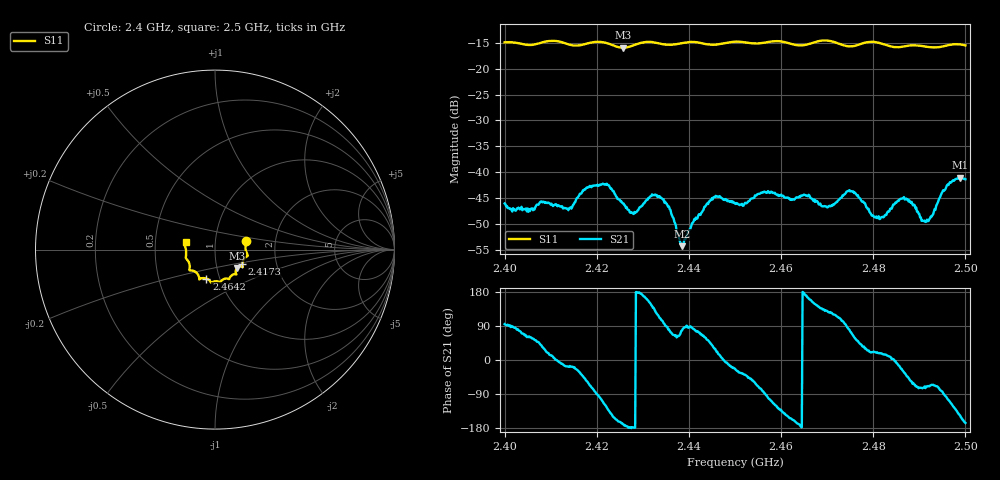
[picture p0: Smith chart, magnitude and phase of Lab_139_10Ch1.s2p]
# Hz S RI R 50
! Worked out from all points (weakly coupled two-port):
!   601 points, 2.4 GHz to 2.5 GHz, reference 50 ohm
!   highest |S21| = -41.10 dB at 2.4988 GHz (marker M1); lowest = -54.3 dB at 2.4385 GHz (marker M2)
!   lowest |S11| = -15.9 dB at 2.4257 GHz (marker M3), VSWR 1.38, Z = 62.4 - j13.2 ohm
!   |S11| at or under -10 dB: start of sweep to end of sweep
!   S12 and S22 are empty: the file has one direction only
!   S11 on the Smith chart (normalised r, x): 2.4 GHz: 1.41, +0.15; 2.4173 GHz: 1.34, -0.23; 2.4642 GHz: 0.86, -0.29; 2.5 GHz: 0.72, +0.06
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2.4e9  0.1733 0.0498  -0.000407 0.00495  0 0  0 0
2.414e9  0.1653 -0.0467  0.00424 -0.00138  0 0  0 0
2.416667e9  0.1528 -0.0748  0.0049 -0.00384  0 0  0 0
2.417333e9  0.1522 -0.0821  0.00457 -0.00504  0 0  0 0
2.422167e9  0.1508 -0.0941  -0.00446 -0.0063  0 0  0 0
2.425667e9  0.1226 -0.1027  -0.0049 -0.000914  0 0  0 0
2.428167e9  0.115 -0.1254  -0.00412 -0.0001  0 0  0 0
2.433333e9  0.1126 -0.1366  -0.00273 0.0052  0 0  0 0
2.435667e9  0.0966 -0.1412  0.000755 0.00458  0 0  0 0
2.4385e9  0.0819 -0.1571  0.000397 0.00188  0 0  0 0
2.445333e9  0.0527 -0.1625  0.00477 0.00313  0 0  0 0
2.45e9  0.0294 -0.1809  0.00455 -0.00195  0 0  0 0
2.464167e9  -0.0483 -0.1616  -0.00573 -0.000618  0 0  0 0
2.466667e9  -0.0765 -0.1599  -0.00501 0.00236  0 0  0 0
2.470333e9  -0.0873 -0.1653  -0.00279 0.00376  0 0  0 0
2.475167e9  -0.1082 -0.1247  0.0019 0.00627  0 0  0 0
2.48e9  -0.1427 -0.1139  0.00353 0.0014  0 0  0 0
2.483333e9  -0.1408 -0.0896  0.00408 0.000709  0 0  0 0
2.487e9  -0.156 -0.0564  0.00436 -0.00331  0 0  0 0
2.491833e9  -0.1607 -0.0267  0.00121 -0.00313  0 0  0 0
2.498833e9  -0.1688 0.035  -0.00733 -0.00489  0 0  0 0
2.5e9  -0.1635 0.0414  -0.00829 -0.00207  0 0  0 0
